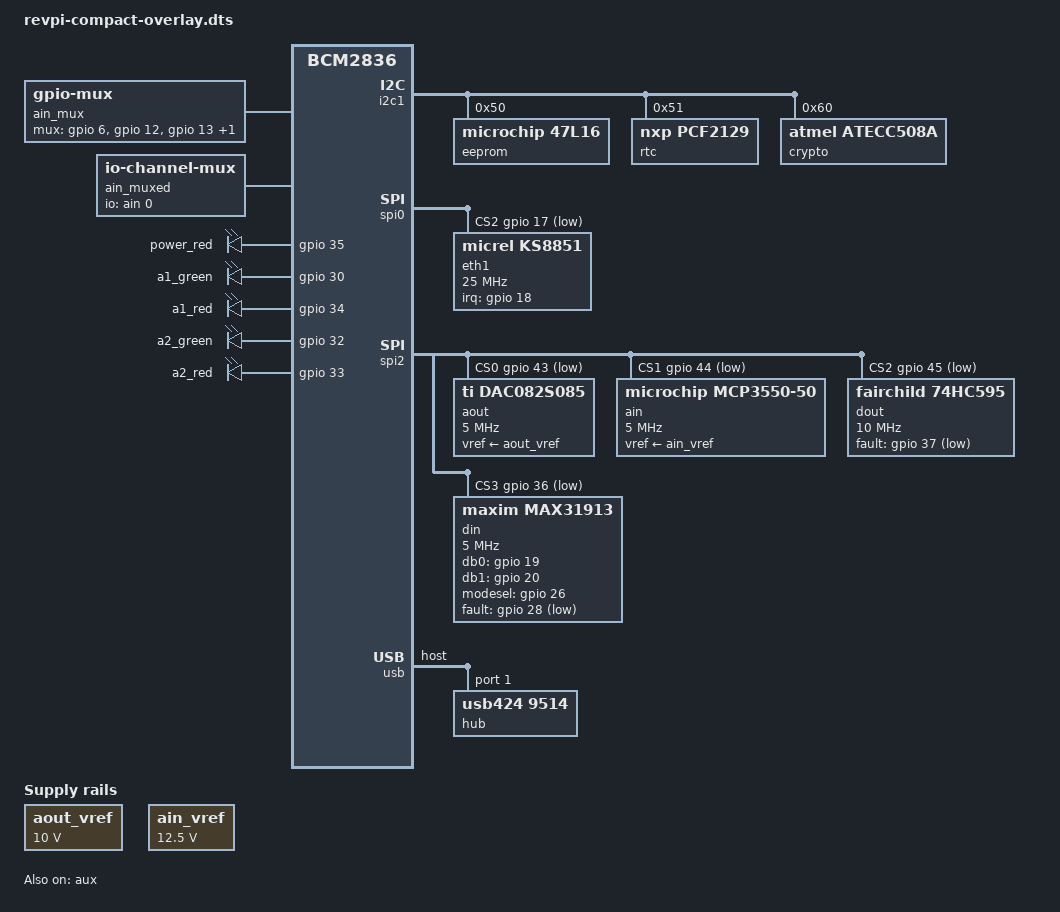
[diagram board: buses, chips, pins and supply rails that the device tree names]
/*
 * Device tree overlay for Revolution Pi by KUNBUS
 *
 * RevPi Compact
 */

/dts-v1/;
/plugin/;
#include <dt-bindings/gpio/gpio.h>
#include <dt-bindings/interrupt-controller/irq.h>
#include <dt-bindings/pinctrl/bcm2835.h>

/{
	compatible = "brcm,bcm2837";

	fragment@0 {
		target-path = "/";
		__overlay__ {
			compatible = "kunbus,revpi-compact", "brcm,bcm2837",
				     "brcm,bcm2836";

			aout_vref: fixedregulator_2v5x4 {
				compatible = "regulator-fixed";
				regulator-name = "2v5_x4_amplified";
				regulator-min-microvolt = <10000000>;
				regulator-max-microvolt = <10000000>;
				regulator-always-on;
			};

			ain_vref: fixedregulator_2v5x5 {
				compatible = "regulator-fixed";
				regulator-name = "2v5_x5_amplified";
				regulator-min-microvolt = <12500000>;
				regulator-max-microvolt = <12500000>;
				regulator-always-on;
			};

			ain_mux: ain_mux {
				compatible = "gpio-mux";
				pinctrl-names = "default";
				pinctrl-0 = <&ain_mux_pins>;
				#mux-control-cells = <0>;
				mux-gpios = <&gpio  6 GPIO_ACTIVE_HIGH>,
					    <&gpio 12 GPIO_ACTIVE_HIGH>,
					    <&gpio 13 GPIO_ACTIVE_HIGH>,
					    <&gpio 16 GPIO_ACTIVE_HIGH>;
				/*
				 * Switching the mux and turning on the RTD
				 * power source takes a while (< 20 msec).
				 * The power source should be disabled after
				 * a measurement to avoid heating up the RTD
				 * sensor, hence ain0 is used as idle state.
				 */
				settling-time-us = <20000>;
				idle-state = <0>;
			};

			ain_muxed {
				compatible = "io-channel-mux";
				io-channels = <&ain 0>;
				io-channel-names = "parent";
				mux-controls = <&ain_mux>;
				channels = "ain0", "ain1", "ain2", "ain3",
					   "ain4", "ain5", "ain6", "ain7",
					   "ain0_rtd", "ain1_rtd", "ain2_rtd",
					   "ain3_rtd", "ain4_rtd", "ain5_rtd",
					   "ain6_rtd", "ain7_rtd";
			};

			leds {
				compatible = "gpio-leds";
				pinctrl-names = "default";
				pinctrl-0 = <&leds_pins>;
				power_red {
					gpios = <&gpio 35 GPIO_ACTIVE_HIGH>;
					linux,default-trigger = "power_red";
				};
				a1_green {
					gpios = <&gpio 30 GPIO_ACTIVE_HIGH>;
					linux,default-trigger = "a1_green";
				};
				a1_red {
					gpios = <&gpio 34 GPIO_ACTIVE_HIGH>;
					linux,default-trigger = "a1_red";
				};
				a2_green {
					gpios = <&gpio 32 GPIO_ACTIVE_HIGH>;
					linux,default-trigger = "a2_green";
				};
				a2_red {
					gpios = <&gpio 33 GPIO_ACTIVE_HIGH>;
					linux,default-trigger = "a2_red";
				};
				led-act {
					status = "disabled";
				};
			};
		};
	};

	fragment@1 {
		target = <&gpio>;
		__overlay__ {
			spi0_cs_pins {
				/* free free eth1 */
				brcm,pins     = <8 7 17>;
				brcm,function = <BCM2835_FSEL_GPIO_OUT>;
				brcm,pull     = <BCM2835_PUD_OFF>;
			};
			eth1_int_pins: eth1_int_pins {
				brcm,pins     = <18>;
				brcm,function = <BCM2835_FSEL_GPIO_IN>;
				brcm,pull     = <BCM2835_PUD_OFF>;
			};
			spi2_pins: spi2_pins {
				/* miso mosi clock */
				brcm,pins     = <40 41 42>;
				brcm,function = <BCM2835_FSEL_ALT4>;
				brcm,pull     = <BCM2835_PUD_OFF>;
			};
			spi2_cs_pins: spi2_cs_pins {
				/* aout ain dout din */
				brcm,pins     = <43 44 45 36>;
				brcm,function = <BCM2835_FSEL_GPIO_OUT>;
				brcm,pull     = <BCM2835_PUD_OFF>;
			};
			ain_mux_pins: ain_mux_pins {
				/* sw_a0 sw_a1 sw_a2 cu_sw_en */
				brcm,pins     = <6 12 13 16>;
				brcm,function = <BCM2835_FSEL_GPIO_OUT>;
				brcm,pull     = <BCM2835_PUD_OFF>;
			};
			dout_fault_pins: dout_fault_pins {
				brcm,pins     = <37>;
				brcm,function = <BCM2835_FSEL_GPIO_IN>;
				brcm,pull     = <BCM2835_PUD_OFF>;
			};
			din_control_pins: din_control_pins {
				/* db0 db1 modesel fault */
				brcm,pins     = <19 20 26 28>;
				brcm,function = <BCM2835_FSEL_GPIO_OUT
						 BCM2835_FSEL_GPIO_OUT
						 BCM2835_FSEL_GPIO_OUT
						 BCM2835_FSEL_GPIO_IN>;
				brcm,pull     = <BCM2835_PUD_OFF>;
			};
			leds_pins: leds_pins {
				/* power_red a1_green a1_red a2_green a2_red */
				brcm,pins     = <35 30 34 32 33>;
				brcm,function = <BCM2835_FSEL_GPIO_OUT>;
				brcm,pull     = <BCM2835_PUD_OFF>;
			};
			rs485_pins: rs485_pins {
				/* tx rx rts term fault */
				brcm,pins     = <14 15 38 39 22>;
				brcm,function = <BCM2835_FSEL_ALT0
						 BCM2835_FSEL_ALT0
						 BCM2835_FSEL_ALT2
						 BCM2835_FSEL_GPIO_OUT
						 BCM2835_FSEL_GPIO_IN>;
				brcm,pull     = <BCM2835_PUD_DOWN
						 BCM2835_PUD_DOWN
						 BCM2835_PUD_DOWN
						 BCM2835_PUD_UP
						 BCM2835_PUD_OFF>;
			};
		};
	};

	fragment@2 {
		target = <&i2c1>;
		__overlay__ {
			#address-cells = <1>;
			#size-cells = <0>;
			status = "okay";

			eeprom@50 {
				compatible = "microchip,47l16";
				reg = <0x50>;
				status = "okay";
				pagesize = <32>; /* FIXME */
			};

			rtc@51 {
				compatible = "nxp,pcf2129";
				reg = <0x51>;
				status = "okay";
			};

			crypto@60 {
				compatible = "atmel,atecc508a";
				reg = <0x60>;
				status = "okay";
			};
		};
	};

	fragment@3 {
		target = <&spi0>;
		__overlay__ {
			cs-gpios = <&gpio 8 GPIO_ACTIVE_LOW>,
				   <&gpio 7 GPIO_ACTIVE_LOW>,
				   <&gpio 17 GPIO_ACTIVE_LOW>;
			#address-cells = <1>;
			#size-cells = <0>;
			status = "okay";

			eth1: ethernet@2 {
				compatible = "micrel,ks8851";
				pinctrl-names = "default";
				pinctrl-0 = <&eth1_int_pins>;
				reg = <2>;
				/*
				 * RevPi Compact achieved 28.5 MHz in the lab,
				 * round down to 25 MHz for safety.
				 */
				spi-max-frequency = <25000000>;	/* <= 40 MHz */
				interrupt-parent = <&gpio>;
				#interrupt-cells = <2>;
				interrupts = <18 IRQ_TYPE_LEVEL_LOW>;
				status = "okay";
			};
		};
	};

	fragment@4 {
		target = <&spi2>;
		__overlay__ {
			pinctrl-names = "default";
			pinctrl-0 = <&spi2_pins &spi2_cs_pins>;
			cs-gpios = <&gpio 43 GPIO_ACTIVE_LOW>,
				   <&gpio 44 GPIO_ACTIVE_LOW>,
				   <&gpio 45 GPIO_ACTIVE_LOW>,
				   <&gpio 36 GPIO_ACTIVE_LOW>;
			#address-cells = <1>;
			#size-cells = <0>;
			status = "okay";

			aout: dac@0 {
				compatible = "ti,dac082s085";
				reg = <0>;
				spi-max-frequency = <5000000>;  /* <= 40 MHz */
				spi-cpol;
				vref-supply = <&aout_vref>;
				status = "okay";
			};

			ain: adc@1 {
				compatible = "microchip,mcp3550-50";
				reg = <1>;
				spi-max-frequency = <5000000>;  /* <= 5 MHz */
				vref-supply = <&ain_vref>;
				#io-channel-cells = <1>;
				status = "okay";
			};

			dout: gpio@2 {
				compatible = "fairchild,74hc595";
				reg = <2>;
				spi-max-frequency = <10000000>; /* <= 50 MHz */
				gpio-controller;
				#gpio-cells = <2>;
				registers-number = <1>;
				kunbus,fault-gpios = <&gpio 37 GPIO_ACTIVE_LOW>;
				pinctrl-names = "default";
				pinctrl-0 = <&dout_fault_pins>;
				status = "okay";
			};

			din: gpio@3 {
				compatible = "maxim,max31913";
				reg = <3>;
				spi-max-frequency = <5000000>; /* <= 25 MHz */
				gpio-controller;
				#gpio-cells = <2>;
				maxim,ignore-undervoltage;
				maxim,db0-gpios     = <&gpio 19 GPIO_ACTIVE_HIGH>;
				maxim,db1-gpios     = <&gpio 20 GPIO_ACTIVE_HIGH>;
				maxim,modesel-gpios = <&gpio 26 GPIO_ACTIVE_HIGH>;
				maxim,fault-gpios   = <&gpio 28 GPIO_ACTIVE_LOW>;
				pinctrl-names = "default";
				pinctrl-0 = <&din_control_pins>;
				status = "okay";
			};
		};
	};

	fragment@5 {
		target = <&aux>;
		__overlay__ {
			status = "okay";
		};
	};

	fragment@6 {
		target = <&uart0>;
		__overlay__ {
			linux,rs485-enabled-at-boot-time;
			pinctrl-names = "default";
			pinctrl-0 = <&rs485_pins>;
			rs485-term-gpios = <&gpio 39 GPIO_ACTIVE_LOW>;
		};
	};

	fragment@7 {
		target = <&usb>;
		__overlay__ {
			dr_mode = "host";
			#address-cells = <1>;
			#size-cells = <0>;

			hub@1 {
				compatible = "usb424,9514"; /* SMSC LAN9514 */
				reg = <1>;
				#address-cells = <1>;
				#size-cells = <0>;

				eth0: ethernet@1 {
					compatible = "usb424,ec00";
					reg = <1>;
				};
			};
		};
	};

	__overrides__ {
		eth0_mac_hi = <&eth0>,"local-mac-address:0";
		eth0_mac_lo = <&eth0>,"local-mac-address;4";
		eth1_mac_hi = <&eth1>,"local-mac-address:0";
		eth1_mac_lo = <&eth1>,"local-mac-address;4";
	};
};
